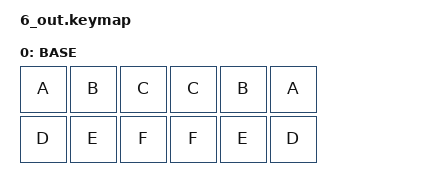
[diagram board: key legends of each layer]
/ {
    keymap {
        compatible = "zmk,keymap";

        // BEGIN keymap
        BASE {
            display-name = "BASE";
            bindings = <
&kp A &kp B &kp C &kp C &kp B &kp A
&kp D &kp E &kp F &kp F &kp E &kp D
            >;
        };
        // END keymap
    };
};

